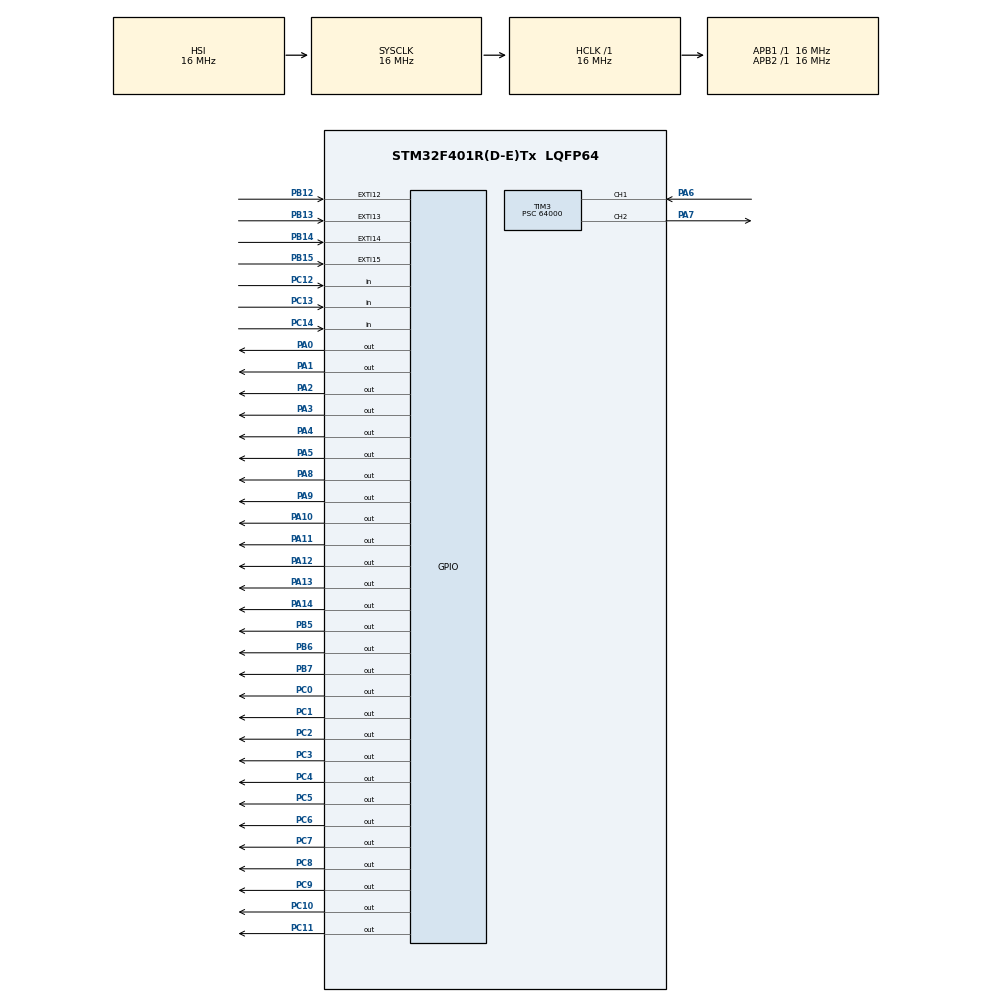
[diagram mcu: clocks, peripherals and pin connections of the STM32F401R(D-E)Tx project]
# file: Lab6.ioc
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Mcu.Family=STM32F4
Mcu.Name=STM32F401R(D-E)Tx
Mcu.Package=LQFP64
NVIC.EXTI15_10_IRQn=true\:0\:0\:false\:false\:true\:true\:true
NVIC.PriorityGroup=NVIC_PRIORITYGROUP_4
NVIC.TIM2_IRQn=true\:0\:0\:false\:false\:true\:true\:true
NVIC.TIM3_IRQn=true\:0\:0\:false\:false\:true\:true\:true
NVIC.TIM5_IRQn=true\:0\:0\:false\:false\:true\:true\:true
PA0-WKUP.Signal=GPIO_Output
PA1.Signal=GPIO_Output
PA10.Signal=GPIO_Output
PA11.Signal=GPIO_Output
PA12.Signal=GPIO_Output
PA13.Signal=GPIO_Output
PA14.Signal=GPIO_Output
PA2.Signal=GPIO_Output
PA3.Signal=GPIO_Output
PA4.Signal=GPIO_Output
PA5.Signal=GPIO_Output
PA6.GPIO_PuPd=GPIO_PULLDOWN
PA6.Signal=S_TIM3_CH1
PA7.Signal=S_TIM3_CH2
PA8.Signal=GPIO_Output
PA9.Signal=GPIO_Output
PB12.GPIO_ModeDefaultEXTI=GPIO_MODE_IT_RISING
PB12.GPIO_PuPd=GPIO_PULLDOWN
PB12.Signal=GPXTI12
PB13.GPIO_PuPd=GPIO_PULLDOWN
PB13.Signal=GPXTI13
PB14.GPIO_PuPd=GPIO_PULLDOWN
PB14.Signal=GPXTI14
PB15.GPIO_PuPd=GPIO_PULLDOWN
PB15.Signal=GPXTI15
PB5.Signal=GPIO_Output
PB6.Signal=GPIO_Output
PB7.Signal=GPIO_Output
PC0.Signal=GPIO_Output
PC1.Signal=GPIO_Output
PC10.Signal=GPIO_Output
PC11.Signal=GPIO_Output
PC12.GPIO_PuPd=GPIO_PULLDOWN
PC12.Signal=GPIO_Input
PC13-ANTI_TAMP.GPIO_PuPd=GPIO_PULLDOWN
PC13-ANTI_TAMP.Signal=GPIO_Input
PC14-OSC32_IN.GPIO_PuPd=GPIO_PULLDOWN
PC14-OSC32_IN.Signal=GPIO_Input
PC2.Signal=GPIO_Output
PC3.Signal=GPIO_Output
PC4.Signal=GPIO_Output
PC5.Signal=GPIO_Output
PC6.Signal=GPIO_Output
PC7.Signal=GPIO_Output
PC8.Signal=GPIO_Output
PC9.Signal=GPIO_Output
ProjectManager.HeapSize=0x200
ProjectManager.StackSize=0x400
ProjectManager.TargetToolchain=MDK-ARM V5.27
RCC.AHBFreq_Value=16000000
RCC.APB1Freq_Value=16000000
RCC.APB2Freq_Value=16000000
RCC.CortexFreq_Value=16000000
RCC.HSE_VALUE=25000000
RCC.HSI_VALUE=16000000
RCC.LSE_VALUE=32768
RCC.SYSCLKFreq_VALUE=16000000
RCC.VCOOutputFreq_Value=192000000
SH.S_TIM3_CH1.0=TIM3_CH1,Input_Capture1_from_TI1
SH.S_TIM3_CH2.0=TIM3_CH2,PWM Generation2 CH2
TIM2.AutoReloadPreload=TIM_AUTORELOAD_PRELOAD_ENABLE
TIM2.Period=1999
TIM2.Prescaler=16000
TIM3.AutoReloadPreload=TIM_AUTORELOAD_PRELOAD_ENABLE
TIM3.Channel-Input_Capture1_from_TI1=TIM_CHANNEL_1
TIM3.Channel-PWM\ Generation2\ CH2=TIM_CHANNEL_2
TIM3.ICFilter_CH1=0
TIM3.ICPolarity_CH1=TIM_INPUTCHANNELPOLARITY_RISING
TIM3.Period=65535
TIM3.Prescaler=64000
TIM5.AutoReloadPreload=TIM_AUTORELOAD_PRELOAD_ENABLE
TIM5.Period=999
TIM5.Prescaler=16000
VP_TIM2_VS_ClockSourceINT.Mode=Internal
VP_TIM5_VS_ClockSourceINT.Mode=Internal
board=custom

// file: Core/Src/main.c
/* USER CODE BEGIN Header */
/**
  ******************************************************************************
  * @file           : main.c
  * @brief          : Main program body
  ******************************************************************************
  * @attention
  *
  * <h2><center>&copy; Copyright (c) 2022 STMicroelectronics.
  * All rights reserved.</center></h2>
  *
  * This software component is licensed by ST under BSD 3-Clause license,
  * the "License"; You may not use this file except in compliance with the
  * License. You may obtain a copy of the License at:
  *                        opensource.org/licenses/BSD-3-Clause
  *
  ******************************************************************************
  */
/* USER CODE END Header */
#include "main.h"

/* USER CODE BEGIN Includes */
#include <stdlib.h>

/* USER CODE END Includes */

/* USER CODE BEGIN PD */

#define KPA GPIO_PIN_8
#define KPB GPIO_PIN_9
#define KPC GPIO_PIN_10
#define KPD GPIO_PIN_11
#define KP1 GPIO_PIN_12
#define KP2 GPIO_PIN_13
#define KP3 GPIO_PIN_14

#define KP_GPIO GPIOC

#define RS GPIO_PIN_5
#define RW GPIO_PIN_6
#define EN GPIO_PIN_7

#define LCD_GPIO GPIOC

#define LED_Red GPIO_PIN_0
#define LED_Green GPIO_PIN_1
#define LED_Blue GPIO_PIN_2
#define LED_Yellow GPIO_PIN_3

#define LED_GPIO GPIOA

#define Button_Red GPIO_PIN_12
#define Button_Green GPIO_PIN_13
#define Button_Blue GPIO_PIN_14
#define Button_Yellow GPIO_PIN_15

#define Button_GPIO GPIOB

#define SS1 GPIO_PIN_8
#define SS2 GPIO_PIN_9
#define SS3 GPIO_PIN_10
#define SS4 GPIO_PIN_11
#define SS5 GPIO_PIN_12
#define SS6 GPIO_PIN_13
#define SS7 GPIO_PIN_14

#define SS_GPIO GPIOA

#define GameTime 5

/* USER CODE END PD */

TIM_HandleTypeDef htim2;
TIM_HandleTypeDef htim3;
TIM_HandleTypeDef htim5;

/* USER CODE BEGIN PV */
uint8_t clear_counter = 0, capture_counter = 0, seconds = 0, wrong_count = 0, match_studentID = 0;
uint16_t delay_value = 3000;

char studentID1[8] = {'9', '8', '2', '4', '3', '0', '4', '5'};
char studentID2[8] = {'9', '8', '2', '4', '3', '0', '2', '7'};
char studentName1[7] = {'F', 'o', 'u', 'l', 'a', 'd', 'i'};
char studentName2[6] = {'R', 'a', 'f', 'e', 'i', 'e'};

enum LED_states
{
	Red,
	Green,
	Blue,
	Yellow,
	None
};
enum LED_states LED_state = None;

enum states
{
	get_studentID,
	blink_name,
	pushed_once,
	game,
	win,
	lose
};
enum states state = get_studentID;
/* USER CODE END PV */

void SystemClock_Config(void);
static void MX_GPIO_Init(void);
static void MX_TIM3_Init(void);
static void MX_TIM2_Init(void);
static void MX_TIM5_Init(void);
/* USER CODE BEGIN PFP */
char get_char(void);

void delayMs(int n);

void LCD_command(unsigned char command);
void LCD_data(char data);
void LCD_init(void);

uint8_t Seven_Segment_Decoder(uint8_t num);
void Seven_Segment_Show(uint8_t num);

void initialize_game(void);
void gameover(void);
/* USER CODE END PFP */

int main(void)
{

  /* MCU Configuration--------------------------------------------------------*/

  /* Reset of all peripherals, Initializes the Flash interface and the Systick. */
  HAL_Init();

  /* Configure the system clock */
  SystemClock_Config();

  /* Initialize all configured peripherals */
  MX_GPIO_Init();
  MX_TIM3_Init();
  MX_TIM2_Init();
  MX_TIM5_Init();
  /* USER CODE BEGIN 2 */
  LCD_init();
  /* USER CODE END 2 */

  /* Infinite loop */
  /* USER CODE BEGIN WHILE */
  while (1)
  {
		if (state == get_studentID)
		{
			LCD_command(1);
			char studentID[8];
			for(int i = 0; i < 8 ; i++)
			{
				studentID[i] = get_char();
				LCD_data(studentID[i]);
			}

			match_studentID = 1;
			for(int i = 0; i < 8 ; i++)
				if(studentID[i] != studentID1[i])
				{
					match_studentID = 0;
					break;
				}

			if(match_studentID == 1)
			{
				state = blink_name;
			}

			else
			{
				match_studentID = 2;
				for(int i = 0; i < 8 ; i++)
					if(studentID[i] != studentID2[i])
					{
						match_studentID = 0;
						break;
					}
				if(match_studentID == 2)
				{
					state = blink_name;
				}
			}
			if(state == blink_name)
			{
				LCD_command(1);
				HAL_TIM_Base_Start_IT(&htim2);
				HAL_TIM_IC_Start_IT(&htim3, TIM_CHANNEL_1);
			}
		}
		else if (state == game)
		{
			if(LED_state != None)
			{
				wrong_count++;
				Seven_Segment_Show(wrong_count);
				if(wrong_count == 3)
				{
					state = lose;
					gameover();
				}

			}
			HAL_GPIO_WritePin(LED_GPIO, LED_Red, GPIO_PIN_RESET);
			HAL_GPIO_WritePin(LED_GPIO, LED_Green, GPIO_PIN_RESET);
			HAL_GPIO_WritePin(LED_GPIO, LED_Blue, GPIO_PIN_RESET);
			HAL_GPIO_WritePin(LED_GPIO, LED_Yellow, GPIO_PIN_RESET);
			srand(__HAL_TIM_GetCounter(&htim3));
			uint8_t random = rand()%4;

			switch (random)
			{
				case 0:
					LED_state = Red;
					HAL_GPIO_WritePin(LED_GPIO, LED_Red, GPIO_PIN_SET);
					break;
				case 1:
					LED_state = Green;
					HAL_GPIO_WritePin(LED_GPIO, LED_Green, GPIO_PIN_SET);
					break;
				case 2:
					LED_state = Blue;
					HAL_GPIO_WritePin(LED_GPIO, LED_Blue, GPIO_PIN_SET);
					break;
				case 3:
					LED_state = Yellow;
					HAL_GPIO_WritePin(LED_GPIO, LED_Yellow, GPIO_PIN_SET);
					break;
			}
			delayMs(delay_value);
		}
	}
    /* USER CODE END WHILE */

}

void SystemClock_Config(void)
{
  RCC_OscInitTypeDef RCC_OscInitStruct = {0};
  RCC_ClkInitTypeDef RCC_ClkInitStruct = {0};

  /** Configure the main internal regulator output voltage
  */
  __HAL_RCC_PWR_CLK_ENABLE();
  __HAL_PWR_VOLTAGESCALING_CONFIG(PWR_REGULATOR_VOLTAGE_SCALE2);
  /** Initializes the RCC Oscillators according to the specified parameters
  * in the RCC_OscInitTypeDef structure.
  */
  RCC_OscInitStruct.OscillatorType = RCC_OSCILLATORTYPE_HSI;
  RCC_OscInitStruct.HSIState = RCC_HSI_ON;
  RCC_OscInitStruct.HSICalibrationValue = RCC_HSICALIBRATION_DEFAULT;
  RCC_OscInitStruct.PLL.PLLState = RCC_PLL_NONE;
  if (HAL_RCC_OscConfig(&RCC_OscInitStruct) != HAL_OK)
  {
    Error_Handler();
  }
  /** Initializes the CPU, AHB and APB buses clocks
  */
  RCC_ClkInitStruct.ClockType = RCC_CLOCKTYPE_HCLK|RCC_CLOCKTYPE_SYSCLK
                              |RCC_CLOCKTYPE_PCLK1|RCC_CLOCKTYPE_PCLK2;
  RCC_ClkInitStruct.SYSCLKSource = RCC_SYSCLKSOURCE_HSI;
  RCC_ClkInitStruct.AHBCLKDivider = RCC_SYSCLK_DIV1;
  RCC_ClkInitStruct.APB1CLKDivider = RCC_HCLK_DIV1;
  RCC_ClkInitStruct.APB2CLKDivider = RCC_HCLK_DIV1;

  if (HAL_RCC_ClockConfig(&RCC_ClkInitStruct, FLASH_LATENCY_0) != HAL_OK)
  {
    Error_Handler();
  }
}

static void MX_TIM2_Init(void)
{

  TIM_ClockConfigTypeDef sClockSourceConfig = {0};
  TIM_MasterConfigTypeDef sMasterConfig = {0};

  htim2.Instance = TIM2;
  htim2.Init.Prescaler = 16000;
  htim2.Init.CounterMode = TIM_COUNTERMODE_UP;
  htim2.Init.Period = 1999;
  htim2.Init.ClockDivision = TIM_CLOCKDIVISION_DIV1;
  htim2.Init.AutoReloadPreload = TIM_AUTORELOAD_PRELOAD_ENABLE;
  if (HAL_TIM_Base_Init(&htim2) != HAL_OK)
  {
    Error_Handler();
  }
  sClockSourceConfig.ClockSource = TIM_CLOCKSOURCE_INTERNAL;
  if (HAL_TIM_ConfigClockSource(&htim2, &sClockSourceConfig) != HAL_OK)
  {
    Error_Handler();
  }
  sMasterConfig.MasterOutputTrigger = TIM_TRGO_RESET;
  sMasterConfig.MasterSlaveMode = TIM_MASTERSLAVEMODE_DISABLE;
  if (HAL_TIMEx_MasterConfigSynchronization(&htim2, &sMasterConfig) != HAL_OK)
  {
    Error_Handler();
  }

}

static void MX_TIM3_Init(void)
{

  TIM_MasterConfigTypeDef sMasterConfig = {0};
  TIM_IC_InitTypeDef sConfigIC = {0};
  TIM_OC_InitTypeDef sConfigOC = {0};

  htim3.Instance = TIM3;
  htim3.Init.Prescaler = 64000;
  htim3.Init.CounterMode = TIM_COUNTERMODE_UP;
  htim3.Init.Period = 65535;
  htim3.Init.ClockDivision = TIM_CLOCKDIVISION_DIV1;
  htim3.Init.AutoReloadPreload = TIM_AUTORELOAD_PRELOAD_ENABLE;
  if (HAL_TIM_IC_Init(&htim3) != HAL_OK)
  {
    Error_Handler();
  }
  if (HAL_TIM_PWM_Init(&htim3) != HAL_OK)
  {
    Error_Handler();
  }
  sMasterConfig.MasterOutputTrigger = TIM_TRGO_RESET;
  sMasterConfig.MasterSlaveMode = TIM_MASTERSLAVEMODE_DISABLE;
  if (HAL_TIMEx_MasterConfigSynchronization(&htim3, &sMasterConfig) != HAL_OK)
  {
    Error_Handler();
  }
  sConfigIC.ICPolarity = TIM_INPUTCHANNELPOLARITY_RISING;
  sConfigIC.ICSelection = TIM_ICSELECTION_DIRECTTI;
  sConfigIC.ICPrescaler = TIM_ICPSC_DIV1;
  sConfigIC.ICFilter = 0;
  if (HAL_TIM_IC_ConfigChannel(&htim3, &sConfigIC, TIM_CHANNEL_1) != HAL_OK)
  {
    Error_Handler();
  }
  sConfigOC.OCMode = TIM_OCMODE_PWM1;
  sConfigOC.Pulse = 0;
  sConfigOC.OCPolarity = TIM_OCPOLARITY_HIGH;
  sConfigOC.OCFastMode = TIM_OCFAST_DISABLE;
  if (HAL_TIM_PWM_ConfigChannel(&htim3, &sConfigOC, TIM_CHANNEL_2) != HAL_OK)
  {
    Error_Handler();
  }
  HAL_TIM_MspPostInit(&htim3);

}

static void MX_TIM5_Init(void)
{

  TIM_ClockConfigTypeDef sClockSourceConfig = {0};
  TIM_MasterConfigTypeDef sMasterConfig = {0};

  htim5.Instance = TIM5;
  htim5.Init.Prescaler = 16000;
  htim5.Init.CounterMode = TIM_COUNTERMODE_UP;
  htim5.Init.Period = 999;
  htim5.Init.ClockDivision = TIM_CLOCKDIVISION_DIV1;
  htim5.Init.AutoReloadPreload = TIM_AUTORELOAD_PRELOAD_ENABLE;
  if (HAL_TIM_Base_Init(&htim5) != HAL_OK)
  {
    Error_Handler();
  }
  sClockSourceConfig.ClockSource = TIM_CLOCKSOURCE_INTERNAL;
  if (HAL_TIM_ConfigClockSource(&htim5, &sClockSourceConfig) != HAL_OK)
  {
    Error_Handler();
  }
  sMasterConfig.MasterOutputTrigger = TIM_TRGO_RESET;
  sMasterConfig.MasterSlaveMode = TIM_MASTERSLAVEMODE_DISABLE;
  if (HAL_TIMEx_MasterConfigSynchronization(&htim5, &sMasterConfig) != HAL_OK)
  {
    Error_Handler();
  }

}

static void MX_GPIO_Init(void)
{
  GPIO_InitTypeDef GPIO_InitStruct = {0};

  /* GPIO Ports Clock Enable */
  __HAL_RCC_GPIOC_CLK_ENABLE();
  __HAL_RCC_GPIOA_CLK_ENABLE();
  __HAL_RCC_GPIOB_CLK_ENABLE();

  /*Configure GPIO pin Output Level */
  HAL_GPIO_WritePin(GPIOC, GPIO_PIN_0|GPIO_PIN_1|GPIO_PIN_2|GPIO_PIN_3
                          |GPIO_PIN_4|GPIO_PIN_5|GPIO_PIN_6|GPIO_PIN_7
                          |GPIO_PIN_8|GPIO_PIN_9|GPIO_PIN_10|GPIO_PIN_11, GPIO_PIN_RESET);

  /*Configure GPIO pin Output Level */
  HAL_GPIO_WritePin(GPIOA, GPIO_PIN_0|GPIO_PIN_1|GPIO_PIN_2|GPIO_PIN_3
                          |GPIO_PIN_4|GPIO_PIN_5|GPIO_PIN_8|GPIO_PIN_9
                          |GPIO_PIN_10|GPIO_PIN_11|GPIO_PIN_12|GPIO_PIN_13
                          |GPIO_PIN_14, GPIO_PIN_RESET);

  /*Configure GPIO pin Output Level */
  HAL_GPIO_WritePin(GPIOB, GPIO_PIN_5|GPIO_PIN_6|GPIO_PIN_7, GPIO_PIN_RESET);

  /*Configure GPIO pins : PC13 PC14 PC12 */
  GPIO_InitStruct.Pin = GPIO_PIN_13|GPIO_PIN_14|GPIO_PIN_12;
  GPIO_InitStruct.Mode = GPIO_MODE_INPUT;
  GPIO_InitStruct.Pull = GPIO_PULLDOWN;
  HAL_GPIO_Init(GPIOC, &GPIO_InitStruct);

  /*Configure GPIO pins : PC0 PC1 PC2 PC3
                           PC4 PC5 PC6 PC7
                           PC8 PC9 PC10 PC11 */
  GPIO_InitStruct.Pin = GPIO_PIN_0|GPIO_PIN_1|GPIO_PIN_2|GPIO_PIN_3
                          |GPIO_PIN_4|GPIO_PIN_5|GPIO_PIN_6|GPIO_PIN_7
                          |GPIO_PIN_8|GPIO_PIN_9|GPIO_PIN_10|GPIO_PIN_11;
  GPIO_InitStruct.Mode = GPIO_MODE_OUTPUT_PP;
  GPIO_InitStruct.Pull = GPIO_NOPULL;
  GPIO_InitStruct.Speed = GPIO_SPEED_FREQ_LOW;
  HAL_GPIO_Init(GPIOC, &GPIO_InitStruct);

  /*Configure GPIO pins : PA0 PA1 PA2 PA3
                           PA4 PA5 PA8 PA9
                           PA10 PA11 PA12 PA13
                           PA14 */
  GPIO_InitStruct.Pin = GPIO_PIN_0|GPIO_PIN_1|GPIO_PIN_2|GPIO_PIN_3
                          |GPIO_PIN_4|GPIO_PIN_5|GPIO_PIN_8|GPIO_PIN_9
                          |GPIO_PIN_10|GPIO_PIN_11|GPIO_PIN_12|GPIO_PIN_13
                          |GPIO_PIN_14;
  GPIO_InitStruct.Mode = GPIO_MODE_OUTPUT_PP;
  GPIO_InitStruct.Pull = GPIO_NOPULL;
  GPIO_InitStruct.Speed = GPIO_SPEED_FREQ_LOW;
  HAL_GPIO_Init(GPIOA, &GPIO_InitStruct);

  /*Configure GPIO pins : PB12 PB13 PB14 PB15 */
  GPIO_InitStruct.Pin = GPIO_PIN_12|GPIO_PIN_13|GPIO_PIN_14|GPIO_PIN_15;
  GPIO_InitStruct.Mode = GPIO_MODE_IT_RISING;
  GPIO_InitStruct.Pull = GPIO_PULLDOWN;
  HAL_GPIO_Init(GPIOB, &GPIO_InitStruct);

  /*Configure GPIO pins : PB5 PB6 PB7 */
  GPIO_InitStruct.Pin = GPIO_PIN_5|GPIO_PIN_6|GPIO_PIN_7;
  GPIO_InitStruct.Mode = GPIO_MODE_OUTPUT_PP;
  GPIO_InitStruct.Pull = GPIO_NOPULL;
  GPIO_InitStruct.Speed = GPIO_SPEED_FREQ_LOW;
  HAL_GPIO_Init(GPIOB, &GPIO_InitStruct);

  /* EXTI interrupt init*/
  HAL_NVIC_SetPriority(EXTI15_10_IRQn, 0, 0);
  HAL_NVIC_EnableIRQ(EXTI15_10_IRQn);

}

/* USER CODE BEGIN 4 */
void HAL_TIM_PeriodElapsedCallback(TIM_HandleTypeDef *htim)
{
	if(htim == &htim2)
	{
		if(state == blink_name)
		{
			if(clear_counter == 0)
			{
				if(match_studentID == 1)
					for(int i = 0; i < 7 ; i++)
						LCD_data(studentName1[i]);
				else
					for(int i = 0; i < 6 ; i++)
						LCD_data(studentName2[i]);
				clear_counter = 1;
			}
			else
			{
				LCD_command(1);
				clear_counter = 0;
			}
		}
	}

	if(htim == &htim5)
	{
		seconds++;
		LCD_command(1);
		LCD_data(((60 - seconds) / 10) % 10 + 48);
		LCD_data((60 - seconds) % 10 + 48);
		if(seconds == 9)
		{
			delay_value = 2000;
		}
		if(seconds == 15)
		{
			delay_value = 1000;
		}
		if(seconds >= 25)
		{
			delay_value = 900;
		}
		if(seconds == 35)
		{
			delay_value = 800;
		}
		if(seconds == 45)
		{
			delay_value = 700;
		}
		if(seconds == 55)
		{
			delay_value = 600;
		}
		if(seconds == GameTime)
		{
			state = win;
			gameover();
		}
	}
}
void HAL_TIM_IC_CaptureCallback(TIM_HandleTypeDef *htim)
{
	if(capture_counter == 0)
	{
			__HAL_TIM_SetCounter(&htim3, 0);
			capture_counter = 1;
			__HAL_TIM_SET_CAPTUREPOLARITY(&htim3, TIM_CHANNEL_1,TIM_INPUTCHANNELPOLARITY_FALLING) ;
	}
	else
	{
		if(state == blink_name || state == pushed_once)
		{
			if(__HAL_TIM_GetCounter(&htim3) > 50)
			{
				if(state == blink_name)
					state = pushed_once;
				else
				{
					initialize_game();
				}
			}
		}
		else if (state == game || state == win || state == lose)
		{
			if(__HAL_TIM_GetCounter(&htim3) > 75)
			{
				initialize_game();
			}
		}
		capture_counter = 0;
			__HAL_TIM_SET_CAPTUREPOLARITY(&htim3, TIM_CHANNEL_1,TIM_INPUTCHANNELPOLARITY_RISING) ;
	}
}

char get_char(void)
{
		HAL_GPIO_WritePin(KP_GPIO, KPB, GPIO_PIN_RESET);
		HAL_GPIO_WritePin(KP_GPIO, KPC, GPIO_PIN_RESET);
	while(1)
	{
		HAL_GPIO_WritePin(KP_GPIO, KPD, GPIO_PIN_RESET);
		HAL_GPIO_WritePin(KP_GPIO, KPA, GPIO_PIN_SET);
		if (HAL_GPIO_ReadPin(KP_GPIO, KP1) == GPIO_PIN_SET)
		{
			while (HAL_GPIO_ReadPin(KP_GPIO, KP1) == GPIO_PIN_SET){}
			return '1';
		}
		if (HAL_GPIO_ReadPin(KP_GPIO, KP2) == GPIO_PIN_SET)
		{
			while (HAL_GPIO_ReadPin(KP_GPIO, KP2) == GPIO_PIN_SET){}
			return '2';
		}
		if (HAL_GPIO_ReadPin(KP_GPIO, KP3) == GPIO_PIN_SET)
		{
			while (HAL_GPIO_ReadPin(KP_GPIO, KP3) == GPIO_PIN_SET){}
			return '3';
		}

		HAL_GPIO_WritePin(KP_GPIO, KPA, GPIO_PIN_RESET);
		HAL_GPIO_WritePin(KP_GPIO, KPB, GPIO_PIN_SET);
		if (HAL_GPIO_ReadPin(KP_GPIO, KP1) == GPIO_PIN_SET)
		{
			while (HAL_GPIO_ReadPin(KP_GPIO, KP1) == GPIO_PIN_SET){}
			return '4';
		}
		if (HAL_GPIO_ReadPin(KP_GPIO, KP2) == GPIO_PIN_SET)
		{
			while (HAL_GPIO_ReadPin(KP_GPIO, KP2) == GPIO_PIN_SET){}
			return '5';
		}
		if (HAL_GPIO_ReadPin(KP_GPIO, KP3) == GPIO_PIN_SET)
		{
			while (HAL_GPIO_ReadPin(KP_GPIO, KP3) == GPIO_PIN_SET){}
			return '6';
		}

		HAL_GPIO_WritePin(KP_GPIO, KPB, GPIO_PIN_RESET);
		HAL_GPIO_WritePin(KP_GPIO, KPC, GPIO_PIN_SET);
		if (HAL_GPIO_ReadPin(KP_GPIO, KP1) == GPIO_PIN_SET)
		{
			while (HAL_GPIO_ReadPin(KP_GPIO, KP1) == GPIO_PIN_SET){}
			return '7';
		}
		if (HAL_GPIO_ReadPin(KP_GPIO, KP2) == GPIO_PIN_SET)
		{
			while (HAL_GPIO_ReadPin(KP_GPIO, KP2) == GPIO_PIN_SET){}
			return '8';
		}
		if (HAL_GPIO_ReadPin(KP_GPIO, KP3) == GPIO_PIN_SET)
		{
			while (HAL_GPIO_ReadPin(KP_GPIO, KP3) == GPIO_PIN_SET){}
			return '9';
		}

		HAL_GPIO_WritePin(KP_GPIO, KPC, GPIO_PIN_RESET);
		HAL_GPIO_WritePin(KP_GPIO, KPD, GPIO_PIN_SET);
		if (HAL_GPIO_ReadPin(KP_GPIO, KP1) == GPIO_PIN_SET)
		{
			while (HAL_GPIO_ReadPin(KP_GPIO, KP1) == GPIO_PIN_SET){}
			return '*';
		}
		if (HAL_GPIO_ReadPin(KP_GPIO, KP2) == GPIO_PIN_SET)
		{
			while (HAL_GPIO_ReadPin(KP_GPIO, KP2) == GPIO_PIN_SET){}
			return '0';
		}
		if (HAL_GPIO_ReadPin(KP_GPIO, KP3) == GPIO_PIN_SET)
		{
			while (HAL_GPIO_ReadPin(KP_GPIO, KP3) == GPIO_PIN_SET){}
			return '#';
		}
	}
}

void LCD_init(void)
{
	delayMs(30); /* initialization sequence */
	LCD_command(0x30);
	delayMs(10);
	LCD_command(0x30);
	delayMs(1);
	LCD_command(0x30);

	LCD_command(0x38); /* set 8-bit data, 2-line, 5x7 font */
	LCD_command(0x06); /* move cursor right after each char */
	LCD_command(0x01); /* clear screen, move cursor to home */
	LCD_command(0x0F); /* turn on display, cursor blinking */
}

void LCD_command(unsigned char command)
{
	/* RS = 0, R/W = 0 */
	HAL_GPIO_WritePin(GPIOB, RS, GPIO_PIN_RESET);
	HAL_GPIO_WritePin(GPIOB, RW, GPIO_PIN_RESET);
	/* clear data bus */
	/* put command on data bus */
	for(uint16_t GPIO_Pin = GPIO_PIN_0; GPIO_Pin != GPIO_PIN_8; GPIO_Pin = GPIO_Pin << 1)
	{
		HAL_GPIO_WritePin(GPIOC, GPIO_Pin, command % 2);
		command = command >> 1;
	}
	HAL_GPIO_WritePin(GPIOB, EN, GPIO_PIN_SET);
	/* pulse E high */
	delayMs(0);
	HAL_GPIO_WritePin(GPIOB, EN, GPIO_PIN_RESET);
	/* clear E */

	if (command < 4)
		delayMs(2); /* command 1 and 2 needs up to 1.64ms */
	else
		delayMs(1); /* all others 40 us */
}

void LCD_data(char data)
{
	/* RS = 1 */
	/* R/W = 0 */
	HAL_GPIO_WritePin(GPIOB, RS, GPIO_PIN_SET);
	HAL_GPIO_WritePin(GPIOB, RW, GPIO_PIN_RESET);
	/* clear data bus */
	/* put data on data bus */
	for(uint16_t GPIO_Pin = GPIO_PIN_0; GPIO_Pin != GPIO_PIN_8; GPIO_Pin = GPIO_Pin << 1)
	{
		HAL_GPIO_WritePin(GPIOC, GPIO_Pin, data % 2);
		data = data >> 1;
	}
	/* pulse E high */
	HAL_GPIO_WritePin(GPIOB, EN, GPIO_PIN_SET);
	delayMs(0);
 /* clear E */
	HAL_GPIO_WritePin(GPIOB, EN, GPIO_PIN_RESET);
	delayMs(1);
}

uint8_t Seven_Segment_Decoder(uint8_t num)
{
	switch(num)
	{
		case 0:
			return 0x7E;
		case 1:
			return 0x30;
		case 2:
			return 0x6D;
		case 3:
			return 0x79;
	}
	return 0;
}

void Seven_Segment_Show(uint8_t num)
{
	uint8_t temp = Seven_Segment_Decoder(num);
	HAL_GPIO_WritePin(SS_GPIO, SS7, temp % 2);
	temp /= 2;
	HAL_GPIO_WritePin(SS_GPIO, SS6, temp % 2);
	temp /= 2;
	HAL_GPIO_WritePin(SS_GPIO, SS5, temp % 2);
	temp /= 2;
	HAL_GPIO_WritePin(SS_GPIO, SS4, temp % 2);
	temp /= 2;
	HAL_GPIO_WritePin(SS_GPIO, SS3, temp % 2);
	temp /= 2;
	HAL_GPIO_WritePin(SS_GPIO, SS2, temp % 2);
	temp /= 2;
	HAL_GPIO_WritePin(SS_GPIO, SS1, temp % 2);
}
/* delay n milliseconds (16 MHz CPU clock) */
void delayMs(int n)
{
	int i;
	for (; n > 0; n--)
		for (i = 0; i < 3195; i++)
			__NOP();
}
void HAL_GPIO_EXTI_Callback(uint16_t GPIO_Pin)
{
	if(state == game)
	{
		HAL_GPIO_WritePin(LED_GPIO, LED_Red, GPIO_PIN_RESET);
		HAL_GPIO_WritePin(LED_GPIO, LED_Green, GPIO_PIN_RESET);
		HAL_GPIO_WritePin(LED_GPIO, LED_Blue, GPIO_PIN_RESET);
		HAL_GPIO_WritePin(LED_GPIO, LED_Yellow, GPIO_PIN_RESET);
		switch(GPIO_Pin)
		{
			case Button_Red:
				if(LED_state != Red)
				{
					wrong_count++;
				}
				break;
				case Button_Green:
				if(LED_state != Green)
				{
					wrong_count++;
				}
				break;
				case Button_Blue:
				if(LED_state != Blue)
				{
					wrong_count++;
				}
				break;
				case Button_Yellow:
				if(LED_state != Yellow)
				{
					wrong_count++;
				}
				break;
		}
		if(wrong_count == 3)
		{
			state = lose;
			gameover();
		}
		Seven_Segment_Show(wrong_count);
		LED_state = None;
	}
}

void initialize_game(void)
{
	LED_state = None;
	HAL_GPIO_WritePin(LED_GPIO, LED_Red, GPIO_PIN_RESET);
	HAL_GPIO_WritePin(LED_GPIO, LED_Green, GPIO_PIN_RESET);
	HAL_GPIO_WritePin(LED_GPIO, LED_Blue, GPIO_PIN_RESET);
	HAL_GPIO_WritePin(LED_GPIO, LED_Yellow, GPIO_PIN_RESET);
	state = game;
	HAL_TIM_Base_Stop_IT(&htim2);
	HAL_TIM_Base_Start_IT(&htim5);
	LCD_command(1);
	wrong_count = 0;
	Seven_Segment_Show(wrong_count);
	seconds = 0;
	LCD_data('6');
	LCD_data('0');
}

void gameover(void)
{
	HAL_GPIO_WritePin(LED_GPIO, LED_Red, GPIO_PIN_RESET);
	HAL_GPIO_WritePin(LED_GPIO, LED_Green, GPIO_PIN_RESET);
	HAL_GPIO_WritePin(LED_GPIO, LED_Blue, GPIO_PIN_RESET);
	HAL_GPIO_WritePin(LED_GPIO, LED_Yellow, GPIO_PIN_RESET);
	LCD_command(1);
	HAL_TIM_Base_Stop_IT(&htim2);
	HAL_TIM_Base_Stop_IT(&htim5);
	Seven_Segment_Show(wrong_count);
	if(state == win)
		{
			while(state == win)
			{
				LCD_data('W');
				LCD_data('I');
				LCD_data('N');
				LCD_data('N');
				LCD_data('E');
				LCD_data('R');
				HAL_GPIO_WritePin(LED_GPIO, LED_Green, GPIO_PIN_SET);
				delayMs(500);
				HAL_GPIO_WritePin(LED_GPIO, LED_Green, GPIO_PIN_RESET);
				delayMs(500);
				LCD_command(1);
				HAL_GPIO_WritePin(LED_GPIO, LED_Green, GPIO_PIN_SET);
				delayMs(500);
				HAL_GPIO_WritePin(LED_GPIO, LED_Green, GPIO_PIN_RESET);
				delayMs(500);
			}
		}
		else if(state == lose)
		{
			while(state == lose)
			{
				LCD_data('L');
				LCD_data('O');
				LCD_data('S');
				LCD_data('E');
				LCD_data('R');
				HAL_GPIO_WritePin(LED_GPIO, LED_Red, GPIO_PIN_SET);
				delayMs(500);
				HAL_GPIO_WritePin(LED_GPIO, LED_Red, GPIO_PIN_RESET);
				delayMs(500);
				LCD_command(1);
				HAL_GPIO_WritePin(LED_GPIO, LED_Red, GPIO_PIN_SET);
				delayMs(500);
				HAL_GPIO_WritePin(LED_GPIO, LED_Red, GPIO_PIN_RESET);
				delayMs(500);
			}
		}
}
/* USER CODE END 4 */

void Error_Handler(void)
{
  __disable_irq();
  while (1)
  {
  }
}

/************************ (C) COPYRIGHT STMicroelectronics *****END OF FILE****/
